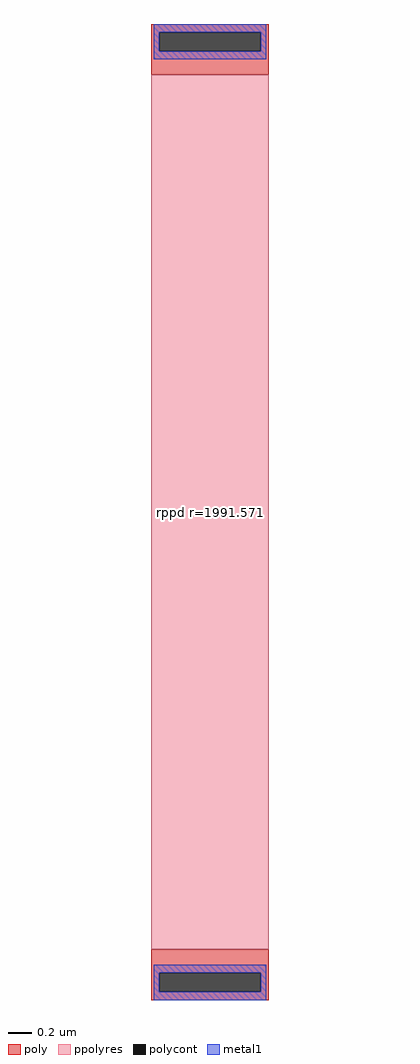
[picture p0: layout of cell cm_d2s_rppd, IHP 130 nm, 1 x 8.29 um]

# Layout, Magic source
magic
tech ihp-sg13cmos5l
magscale 1 2
<< poly >>
rect 0 1559 200 1573
rect 0 1527 14 1559
rect 186 1527 200 1559
rect 0 1487 200 1527
rect 0 -40 200 0
rect 0 -72 14 -40
rect 186 -72 200 -40
rect 0 -86 200 -72
<< polycont >>
rect 14 1527 186 1559
rect 14 -72 186 -40
<< ppolyres >>
rect 0 0 200 1487
<< metal1 >>
rect 4 1559 196 1573
rect 4 1527 14 1559
rect 186 1527 196 1559
rect 4 1513 196 1527
rect 4 -40 196 -26
rect 4 -72 14 -40
rect 186 -72 196 -40
rect 4 -86 196 -72
<< labels >>
flabel comment s 100 743 100 743 0 FreeSans 200 90 0 0 rppd r=1991.571
<< properties >>
string GDS_END 61090
string GDS_FILE custom_io/gds/sg13cmos5l_IOPadDiff2Single.uniq.gds
string GDS_START 59718
string MASKHINTS_CONTBAR 14 1527 186 1559 14 -72 186 -40
<< end >>
